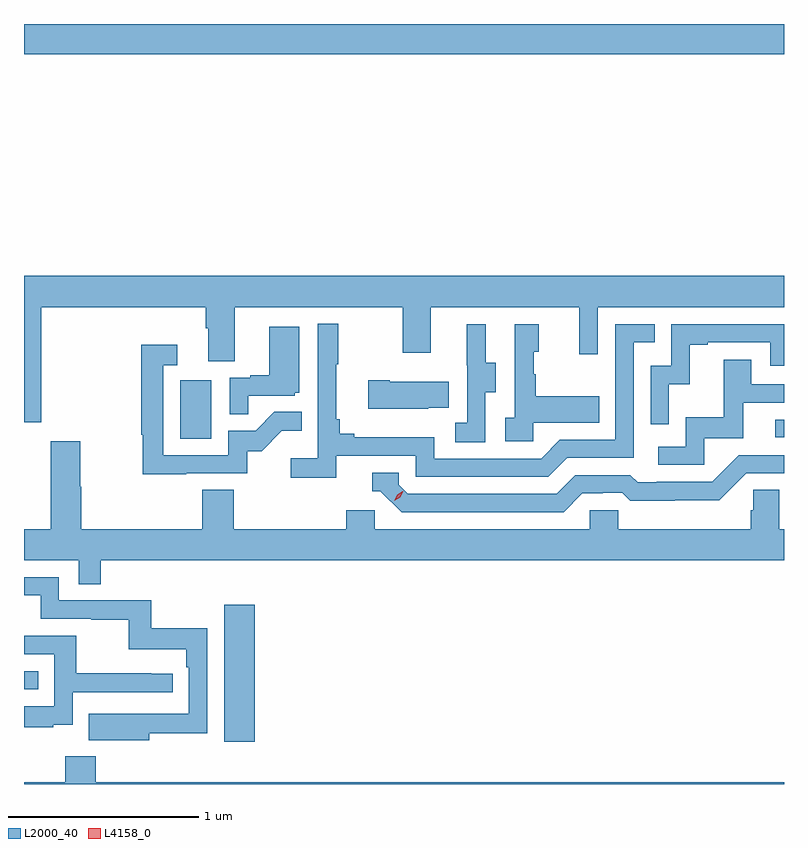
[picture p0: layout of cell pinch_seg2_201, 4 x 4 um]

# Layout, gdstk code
import gdstk
lib = gdstk.Library(unit=1e-6, precision=1e-09)
def R(c, l, rs):  # rectangles x0, y0, x1, y1
    for r in rs: c.add(gdstk.rectangle(r[:2], r[2:], *l))
def P(c, l, *ps):  # polygons
    for p in ps: c.add(gdstk.Polygon(p, *l))
L2000_40 = (2000, 40)
L4158_0 = (4158, 0)

pinch_seg2_201 = lib.new_cell('pinch_seg2_201')
R(pinch_seg2_201, L2000_40, [(982.067,657.336,982.228,658.057), (981.014,657.612,981.089,657.708), (981.836,658.932,982,659.239), (984.969,658.938,985.014,659.031), (981.014,660.956,985.014,661.114)])
P(pinch_seg2_201, L2000_40, [(981.106,659.624),(981.971,659.624),(981.971,659.512),(981.983,659.512),(981.983,659.338),(982.123,659.338),(982.123,659.624),(983.008,659.624),(983.008,659.385),(983.155,659.385),(983.155,659.624),(983.936,659.624),(983.936,659.376),(984.033,659.376),(984.033,659.624),(985.014,659.624),(985.014,659.788),(981.014,659.788),(981.014,659.018),(981.106,659.018)],
  [(982.658,658.842),(983.076,658.842),(983.076,658.731),(983.773,658.731),(983.872,658.83),(984.222,658.83),(984.222,659.439),(984.335,659.439),(984.335,659.535),(984.126,659.535),(984.126,658.926),(983.835,658.926),(983.736,658.827),(983.172,658.827),(983.172,658.939),(982.753,658.939),(982.753,658.958),(982.676,658.958),(982.676,659.035),(982.657,659.035),(982.657,659.323),(982.669,659.323),(982.669,659.536),(982.56,659.536),(982.56,658.828),(982.419,658.828),(982.419,658.726),(982.658,658.726)],
  [(984.408,659.219),(984.518,659.219),(984.518,659.427),(984.613,659.427),(984.613,659.439),(984.942,659.439),(984.942,659.316),(985.014,659.316),(985.014,659.535),(984.42,659.535),(984.42,659.316),(984.312,659.316),(984.312,659.007),(984.408,659.007)],
  [(983.442,659.176),(983.497,659.176),(983.497,659.331),(983.443,659.331),(983.443,659.533),(983.345,659.533),(983.345,659.319),(983.346,659.319),(983.346,659.015),(983.283,659.015),(983.283,658.912),(983.442,658.912)],
  [(983.694,659.015),(984.041,659.015),(984.041,659.155),(983.707,659.155),(983.707,659.27),(983.697,659.27),(983.697,659.388),(983.722,659.388),(983.722,659.533),(983.598,659.533),(983.598,659.042),(983.547,659.042),(983.547,658.917),(983.694,658.917)],
  [(982.193,659.157),(982.44,659.157),(982.44,659.172),(982.462,659.172),(982.462,659.521),(982.304,659.521),(982.304,659.266),(982.205,659.266),(982.205,659.253),(982.098,659.253),(982.098,659.059),(982.193,659.059)],
  [(981.869,658.749),(982.188,658.749),(982.188,658.866),(982.264,658.866),(982.371,658.973),(982.475,658.973),(982.475,659.072),(982.331,659.072),(982.233,658.974),(982.089,658.974),(982.089,658.845),(981.747,658.845),(981.747,659.319),(981.82,659.319),(981.82,659.425),(981.631,659.425),(981.631,658.952),(981.639,658.952),(981.639,658.744),(981.869,658.744)],
  [(984.594,658.935),(984.799,658.935),(984.799,659.121),(985.014,659.121),(985.014,659.217),(984.841,659.217),(984.841,659.347),(984.697,659.347),(984.697,659.044),(984.498,659.044),(984.498,658.89),(984.351,658.89),(984.351,658.794),(984.594,658.794)],
  [(983.141,659.093),(983.249,659.093),(983.249,659.23),(982.939,659.23),(982.939,659.238),(982.827,659.238),(982.827,659.09),(983.141,659.09)],
  [(981.419,658.292),(985.014,658.292),(985.014,658.456),(984.99,658.456),(984.99,658.664),(984.853,658.664),(984.853,658.554),(984.839,658.554),(984.839,658.456),(984.141,658.456),(984.141,658.554),(983.991,658.554),(983.991,658.456),(982.86,658.456),(982.86,658.554),(982.709,658.554),(982.709,658.456),(982.118,658.456),(982.118,658.664),(981.953,658.664),(981.953,658.456),(981.314,658.456),(981.314,658.679),(981.309,658.679),(981.309,658.918),(981.154,658.918),(981.154,658.456),(981.014,658.456),(981.014,658.292),(981.303,658.292),(981.303,658.165),(981.419,658.165)],
  [(983.953,658.644),(984.06,658.644),(984.06,658.647),(984.163,658.647),(984.205,658.605),(984.438,658.605),(984.438,658.607),(984.674,658.607),(984.816,658.749),(985.014,658.749),(985.014,658.845),(984.777,658.845),(984.636,658.704),(984.343,658.704),(984.343,658.701),(984.244,658.701),(984.205,658.74),(983.916,658.74),(983.817,658.641),(983.034,658.641),(982.986,658.689),(982.986,658.752),(982.847,658.752),(982.847,658.656),(982.89,658.656),(983.001,658.545),(983.854,658.545)],
  [(981.673,657.382),(981.978,657.382),(981.978,657.934),(981.685,657.934),(981.685,658.08),(981.198,658.08),(981.198,658.203),(981.014,658.203),(981.014,658.107),(981.102,658.107),(981.102,657.984),(981.367,657.984),(981.367,657.979),(981.564,657.979),(981.564,657.824),(981.869,657.824),(981.869,657.728),(981.882,657.728),(981.882,657.483),(981.569,657.483),(981.569,657.484),(981.355,657.484),(981.355,657.344),(981.673,657.344)],
  [(981.167,657.425),(981.27,657.425),(981.27,657.597),(981.796,657.597),(981.796,657.693),(981.683,657.693),(981.683,657.698),(981.29,657.698),(981.29,657.894),(981.014,657.894),(981.014,657.798),(981.174,657.798),(981.174,657.522),(981.014,657.522),(981.014,657.414),(981.167,657.414)],
  [(985.014,657.124),(981.392,657.124),(981.392,657.259),(981.232,657.259),(981.232,657.124),(981.014,657.124),(981.014,657.114),(985.014,657.114)])
P(pinch_seg2_201, L4158_0, [(982.962,658.604),(982.962,658.604),(982.978,658.636),(983.008,658.656),(983.009,658.656),(983.009,658.656),(982.993,658.623),(982.962,658.604)])

lib.write_gds('pinch_seg2_201.gds')
